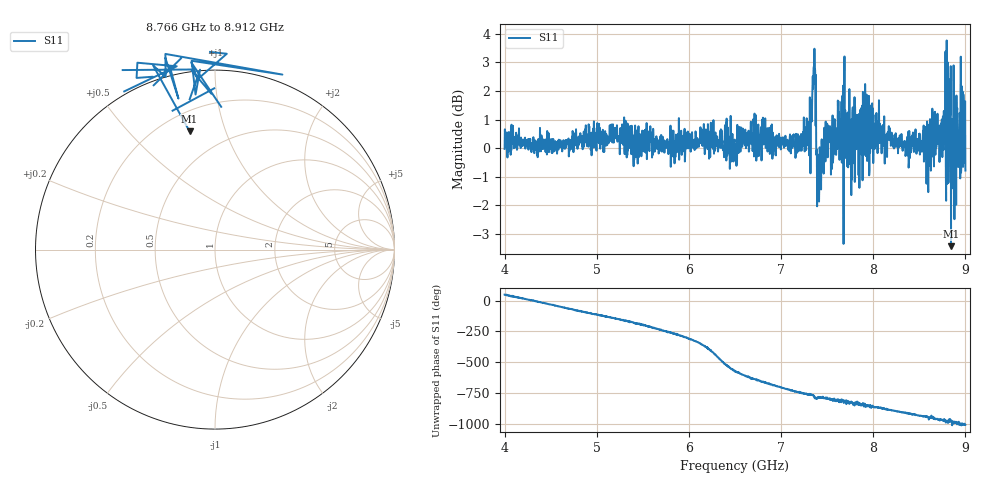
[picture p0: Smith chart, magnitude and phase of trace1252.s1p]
! Created with skrf 1.8.0 (http://scikit-rf.org).
# Hz S RI R 50.0
!freq ReS11 ImS11
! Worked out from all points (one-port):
!   1601 points, 4 GHz to 9 GHz, reference 50 ohm
!   lowest |S11| = -3.4 dB at 8.844 GHz (marker M1), VSWR 5.13, Z = 15.7 + j37.9 ohm
!   |S11| at or under -10 dB: nowhere
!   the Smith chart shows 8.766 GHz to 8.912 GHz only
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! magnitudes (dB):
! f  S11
! 4 GHz  0.0
! 4.625 GHz  -0.1
! 5.25 GHz  -0.2
! 5.875 GHz  0.3
! 6.412 GHz  0.3
! 6.5 GHz  -0.2
! 6.806 GHz  0.2
! 7.125 GHz  0.3
! 7.297 GHz  0.4
! 7.353 GHz  2.8
! 7.409 GHz  -0.3
! 7.509 GHz  0.1
! 7.566 GHz  -0.3
! 7.641 GHz  0.2
! 7.75 GHz  -0.6
! 7.775 GHz  1.3
! 7.875 GHz  -0.2
! 7.928 GHz  1.9
! 7.981 GHz  0.4
! 8.05 GHz  0.9
! 8.375 GHz  0.1
! 8.603 GHz  0.0
! 8.766 GHz  1.3
! 8.816 GHz  -1.2
! 8.844 GHz  -3.4
! 8.906 GHz  -0.3
! 8.972 GHz  0.8
! 9 GHz  -0.8
